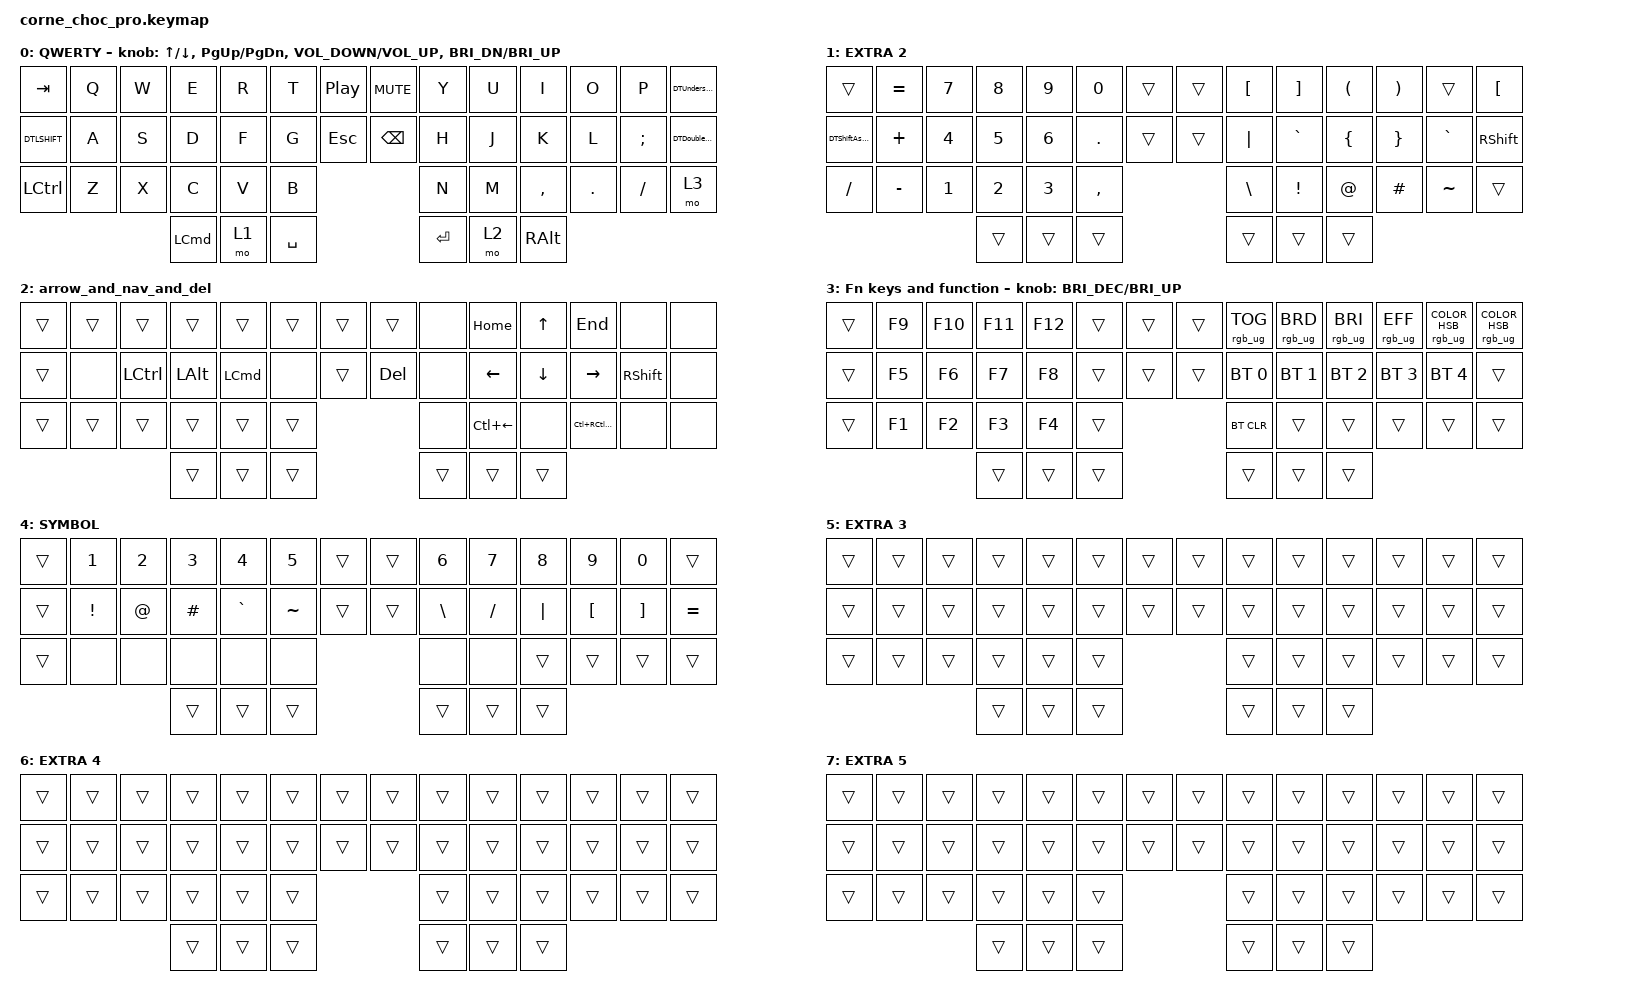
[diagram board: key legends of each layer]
/*
 * Copyright (c) 2020 The ZMK Contributors
 *
 * SPDX-License-Identifier: MIT
 */

#include <behaviors.dtsi>
#include <dt-bindings/zmk/bt.h>
#include <dt-bindings/zmk/keys.h>
#include <dt-bindings/zmk/rgb.h>

/ {
    chosen { zmk,physical-layout = &default_layout; };
};

/ {
    combos {
        compatible = "zmk,combos";

        sys_reset {
            bindings = <&sys_reset>;
            key-positions = <28 29 38 39 40 45>;
        };

        bootloader {
            bindings = <&bootloader>;
            key-positions = <28 29 39 38 44 41>;
        };

        studio_unlock {
            bindings = <&studio_unlock>;
            key-positions = <28 29 39 38 43 42>;
        };
    };

    behaviors {
        layer_1_rgb: layer_1_rgb {
            compatible = "zmk,behavior-macro";
            #binding-cells = <0>;
            wait-ms = <0>;
            tap-ms = <0>;
            bindings =
                <&macro_press>,
                <&mo 1>,
                <&macro_tap>,
                <&rgb_ug RGB_COLOR_HSB(125,89,54)>,
                <&macro_pause_for_release>,
                <&macro_release>,
                <&mo 1>,
                <&macro_tap>,
                <&rgb_ug RGB_COLOR_HSB(0,0,0)>;
        };

        DTLSHIFT: DTLSHIFT {
            compatible = "zmk,behavior-tap-dance";
            label = "DTLSHIFT";
            #binding-cells = <0>;
            bindings = <&kp LSHFT>, <&kp CAPSLOCK>;
        };

        DTDoubleQuote: DTDoubleQuote {
            compatible = "zmk,behavior-tap-dance";
            label = "DTDOUBLEQUOTE";
            #binding-cells = <0>;
            bindings = <&kp SINGLE_QUOTE>, <&kp DOUBLE_QUOTES>;
        };

        DTUnderscore: DTUnderscore {
            compatible = "zmk,behavior-tap-dance";
            label = "DTUNDERSCORE";
            #binding-cells = <0>;
            bindings = <&kp MINUS>, <&kp UNDER>;
        };

        DTShiftAsterisk: DTShiftAsterisk {
            compatible = "zmk,behavior-tap-dance";
            label = "DTSHIFTASTERISK";
            #binding-cells = <0>;
            bindings = <&kp LEFT_SHIFT>, <&kp ASTRK>;
        };
    };

    macros {
    };

    keymap {
        compatible = "zmk,keymap";

        default_layer {
            display-name = "QWERTY";

            // --------------------------------------------------------------------------------
            // |  TAB |  Q  |  W  |  E  |  R  |  T  |  MUTE |  PP   |  Y  |  U   |  I  |  O  |  P  | BSPC |
            // | CTRL |  A  |  S  |  D  |  F  |  G  |  LALT |  RALT |  H  |  J   |  K  |  L  |  ;  |  '   |
            // | SHFT |  Z  |  X  |  C  |  V  |  B  |               |  N  |  M   |  ,  |  .  |  /  | ESC  |
            //                    | GUI | LWR | SPC |               | ENT | RSE  | ALT |

            bindings = <
&kp TAB    &kp Q  &kp W  &kp E             &kp R  &kp T      &kp C_PLAY_PAUSE  &kp C_MUTE     &kp Y      &kp U  &kp I          &kp O    &kp P     &DTUnderscore
&DTLSHIFT  &kp A  &kp S  &kp D             &kp F  &kp G      &kp ESC           &kp BACKSPACE  &kp H      &kp J  &kp K          &kp L    &kp SEMI  &DTDoubleQuote
&kp LCTRL  &kp Z  &kp X  &kp C             &kp V  &kp B                                       &kp N      &kp M  &kp COMMA      &kp DOT  &kp FSLH  &mo 3
                         &kp LEFT_COMMAND  &mo 1  &kp SPACE                                   &kp ENTER  &mo 2  &kp RIGHT_ALT
            >;

            sensor-bindings =
                <&inc_dec_kp UP_ARROW DOWN>,
                <&inc_dec_kp PG_UP PG_DN>,
                <&inc_dec_kp C_VOLUME_DOWN C_VOLUME_UP>,
                <&inc_dec_kp C_BRI_DN C_BRI_UP>;
        };

        number_symbol_2 {
            display-name = "EXTRA 2";
            bindings = <
&trans            &kp EQUAL  &kp NUMBER_7  &kp NUMBER_8  &kp NUMBER_9  &kp NUMBER_0  &trans  &trans  &kp LEFT_BRACKET  &kp RIGHT_BRACKET  &kp LEFT_PARENTHESIS  &kp RIGHT_PARENTHESIS  &trans     &kp LEFT_BRACKET
&DTShiftAsterisk  &kp PLUS   &kp NUMBER_4  &kp NUMBER_5  &kp NUMBER_6  &kp PERIOD    &trans  &trans  &kp PIPE          &kp GRAVE          &kp LEFT_BRACE        &kp RIGHT_BRACE        &kp GRAVE  &kp RIGHT_SHIFT
&kp SLASH         &kp MINUS  &kp NUMBER_1  &kp NUMBER_2  &kp NUMBER_3  &kp COMMA                     &kp BACKSLASH     &kp EXCL           &kp AT                &kp HASH               &kp TILDE  &trans
                                           &trans        &trans        &trans                        &trans            &trans             &trans
            >;
        };

        nav_layer {
            display-name = "arrow_and_nav_and_del";
            bindings = <
&trans  &trans  &trans     &trans        &trans            &trans  &trans  &trans   &none   &kp HOME      &kp UP_ARROW    &kp END            &none       &none
&trans  &none   &kp LCTRL  &kp LEFT_ALT  &kp LEFT_COMMAND  &none   &trans  &kp DEL  &none   &kp LEFT      &kp DOWN_ARROW  &kp RIGHT          &kp RSHIFT  &none
&trans  &trans  &trans     &trans        &trans            &trans                   &none   &kp LC(LEFT)  &none           &kp LC(RC(RIGHT))  &none       &none
                           &trans        &trans            &trans                   &trans  &trans        &trans
            >;
        };

        function_layer {
            display-name = "Fn keys and function";
            bindings = <
&trans  &kp F9  &kp F10  &kp F11  &kp F12  &trans  &trans  &trans  &rgb_ug RGB_TOG  &rgb_ug RGB_BRD  &rgb_ug RGB_BRI  &rgb_ug RGB_EFF  &rgb_ug RGB_COLOR_HSB(140,100,50)  &rgb_ug RGB_COLOR_HSB(0,85,48)
&trans  &kp F5  &kp F6   &kp F7   &kp F8   &trans  &trans  &trans  &bt BT_SEL 0     &bt BT_SEL 1     &bt BT_SEL 2     &bt BT_SEL 3     &bt BT_SEL 4                       &trans
&trans  &kp F1  &kp F2   &kp F3   &kp F4   &trans                  &bt BT_CLR       &trans           &trans           &trans           &trans                             &trans
                         &trans   &trans   &trans                  &trans           &trans           &trans
            >;

            sensor-bindings = <&inc_dec_kp C_BRI_DEC C_BRI_UP>;
        };

        number_symbol_1 {
            display-name = "SYMBOL";
            bindings = <
&trans  &kp NUMBER_1  &kp NUMBER_2  &kp NUMBER_3  &kp NUMBER_4  &kp NUMBER_5  &trans  &trans  &kp NUMBER_6   &kp NUMBER_7  &kp NUMBER_8  &kp NUMBER_9      &kp N0             &trans
&trans  &kp EXCL      &kp AT        &kp HASH      &kp GRAVE     &kp TILDE     &trans  &trans  &kp BACKSLASH  &kp SLASH     &kp PIPE      &kp LEFT_BRACKET  &kp RIGHT_BRACKET  &kp EQUAL
&trans  &none         &none         &none         &none         &none                         &none          &none         &trans        &trans            &trans             &trans
                                    &trans        &trans        &trans                        &trans         &trans        &trans
            >;
        };

        extra_layer_3 {
            display-name = "EXTRA 3";
            bindings = <
&trans  &trans  &trans  &trans  &trans  &trans  &trans  &trans  &trans  &trans  &trans  &trans  &trans  &trans
&trans  &trans  &trans  &trans  &trans  &trans  &trans  &trans  &trans  &trans  &trans  &trans  &trans  &trans
&trans  &trans  &trans  &trans  &trans  &trans                  &trans  &trans  &trans  &trans  &trans  &trans
                        &trans  &trans  &trans                  &trans  &trans  &trans
            >;
        };

        extra_layer_4 {
            display-name = "EXTRA 4";
            bindings = <
&trans  &trans  &trans  &trans  &trans  &trans  &trans  &trans  &trans  &trans  &trans  &trans  &trans  &trans
&trans  &trans  &trans  &trans  &trans  &trans  &trans  &trans  &trans  &trans  &trans  &trans  &trans  &trans
&trans  &trans  &trans  &trans  &trans  &trans                  &trans  &trans  &trans  &trans  &trans  &trans
                        &trans  &trans  &trans                  &trans  &trans  &trans
            >;
        };

        extra_layer_5 {
            display-name = "EXTRA 5";
            bindings = <
&trans  &trans  &trans  &trans  &trans  &trans  &trans  &trans  &trans  &trans  &trans  &trans  &trans  &trans
&trans  &trans  &trans  &trans  &trans  &trans  &trans  &trans  &trans  &trans  &trans  &trans  &trans  &trans
&trans  &trans  &trans  &trans  &trans  &trans                  &trans  &trans  &trans  &trans  &trans  &trans
                        &trans  &trans  &trans                  &trans  &trans  &trans
            >;
        };
    };
};
